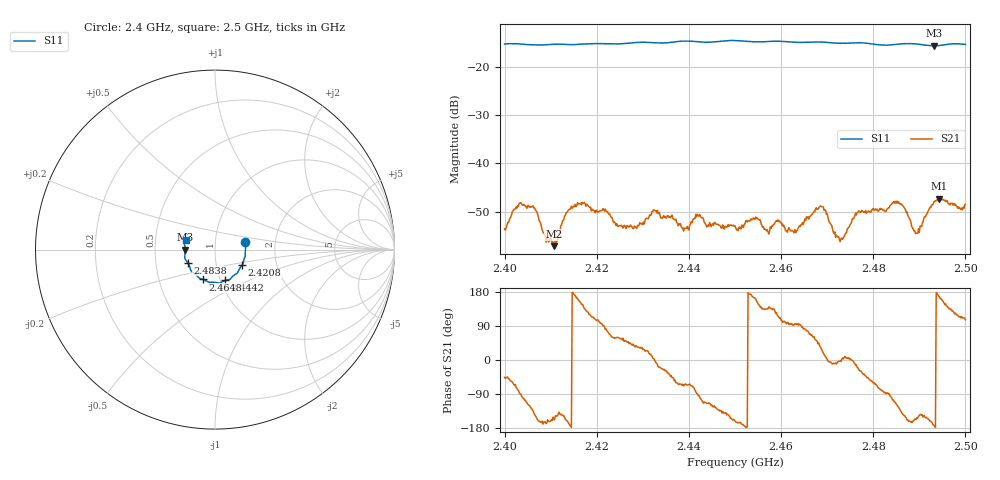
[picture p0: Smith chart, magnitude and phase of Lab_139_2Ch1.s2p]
# Hz S RI R 50
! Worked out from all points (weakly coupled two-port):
!   601 points, 2.4 GHz to 2.5 GHz, reference 50 ohm
!   highest |S21| = -47.32 dB at 2.4943 GHz (marker M1); lowest = -57.2 dB at 2.4107 GHz (marker M2)
!   lowest |S11| = -15.6 dB at 2.4932 GHz (marker M3), VSWR 1.40, Z = 35.8 - j0.0792 ohm
!   |S11| at or under -10 dB: start of sweep to end of sweep
!   S12 and S22 are empty: the file has one direction only
!   S11 on the Smith chart (normalised r, x): 2.4 GHz: 1.40, +0.12; 2.4208 GHz: 1.33, -0.24; 2.4442 GHz: 1.05, -0.37; 2.4648 GHz: 0.83, -0.28; 2.4838 GHz: 0.73, -0.11; 2.5 GHz: 0.72, +0.08
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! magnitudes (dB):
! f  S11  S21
! 2.4 GHz  -15.3  -53.6
! 2.403 GHz  -15.2  -48.9
! 2.4057 GHz  -15.4  -49.1
! 2.4107 GHz  -15.3  -57.2
! 2.4135 GHz  -15.3  -50.2
! 2.4167 GHz  -15.3  -48.6
! 2.4208 GHz  -15.2  -49.8
! 2.4282 GHz  -15.0  -53.0
! 2.4333 GHz  -15.0  -50.4
! 2.4442 GHz  -14.9  -52.8
! 2.45 GHz  -14.5  -53.0
! 2.4648 GHz  -14.9  -52.7
! 2.4667 GHz  -14.8  -50.6
! 2.469 GHz  -14.8  -49.0
! 2.4732 GHz  -15.1  -55.5
! 2.4765 GHz  -15.0  -50.2
! 2.4833 GHz  -15.5  -49.2
! 2.4838 GHz  -15.4  -48.6
! 2.4895 GHz  -15.2  -54.5
! 2.4932 GHz  -15.6  -47.9
! 2.4943 GHz  -15.6  -47.3
! 2.5 GHz  -15.3  -48.5
